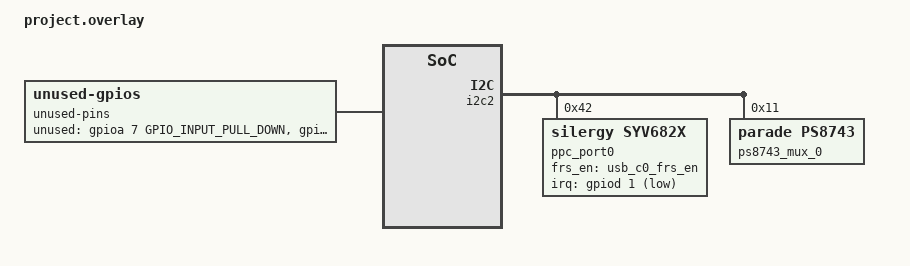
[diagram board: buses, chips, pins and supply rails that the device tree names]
/* Copyright 2023 The ChromiumOS Authors
 * Use of this source code is governed by a BSD-style license that can be
 * found in the LICENSE file.
 */

 /* Ciri DTS includes */

#include "../adc.dtsi"
#include "../geralt_common.dtsi"
#include "../gpio.dtsi"
#include "../i2c.dtsi"
#include "../interrupts.dtsi"
#include "../keyboard.dtsi"
#include "../mkbp.dtsi"
#include "../motionsense.dtsi"
#include "../power_signal.dtsi"
#include "../uart.dtsi"
#include "../usbc.dtsi"
#include "../shi.dtsi"
#include "battery.dtsi"
#include "led.dtsi"

/* ciri board override */

/ {
	named-gpios {
		/delete-node/ als-rgb-int-odl;
		/delete-node/ usb-c0-ppc-bc12-int-odl;

		usb_c0_frs_en: usb-c0-frs-en {
			gpios = <&gpioa 3 GPIO_OUTPUT_LOW>;
		};
		ec_ap_hid_int_odl: ec-ap-hid-int-odl {
			gpios = <&gpioa 6 (GPIO_ODR_HIGH | GPIO_VOLTAGE_1P8 |
					   GPIO_ACTIVE_LOW)>;
		};
		usb_c0_ppc_int_odl: usb-c0-ppc-int-odl {
			gpios = <&gpiod 1 (GPIO_INPUT | GPIO_ACTIVE_LOW)>;
		};
		dp_path_sel: dp-path-sel {
			gpios = <&gpiog 0 (GPIO_OUTPUT_LOW | GPIO_ACTIVE_LOW)>;
		};
	};

	unused-pins {
		compatible = "unused-gpios";

		unused-gpios =
			/* unnamed nc pins */
			<&gpioa 7 GPIO_INPUT_PULL_DOWN>,
			/* pg_pp5000_z1_od */
			<&gpiod 2 GPIO_INPUT>,
			/* CHARGE_EN DNS */
			<&gpioe 1 GPIO_INPUT_PULL_DOWN>,
			/* als_rgb_int_odl not used */
			<&gpiof 1 GPIO_INPUT_PULL_DOWN>,
			/* spi_clk_gpg6 */
			<&gpiog 6 GPIO_INPUT_PULL_UP>,
			/* spi_mosi_gpg4 */
			<&gpiog 4 GPIO_OUTPUT_LOW>,
			/* spi_miso_gpg5 */
			<&gpiog 5 GPIO_OUTPUT_LOW>,
			/* spi_cs_gpg7 */
			<&gpiog 7 GPIO_OUTPUT_LOW>,
			/* Input w/o I-PULL for unused GPIO w/ Ex-PU
			 * EC_AP_RSVD0_ODL
			 */
			<&gpioh 0 GPIO_INPUT>,
			<&gpiom 2 (GPIO_INPUT_PULL_DOWN | GPIO_VOLTAGE_1P8)>,
			<&gpiom 6 (GPIO_INPUT_PULL_DOWN | GPIO_VOLTAGE_1P8)>;
	};

	named-adc-channels {
		adc-temp-sensor-pp5000-z1 {
			enum-name = "ADC_TEMP_SENSOR_PP5000_Z1";
			io-channels = <&adc0 3>;
		};
	};

	gpio-interrupts {
		compatible = "cros-ec,gpio-interrupts";

		int_lid_imu: lid-imu {
			handler = "lsm6dsm_interrupt";
		};
	};

	usbc {
		port0@0 {
			usb-mux-chain-0 {
				usb-muxes = <&ps8743_mux_0 &virtual_mux_0>;
			};
		};
	};

	aliases {
		/*
		 * motion sense's <>_INT_EVENT is handled
		 * by alias. Using the alias, each driver creates
		 * its own <>_INT_EVENT.
		 */
		lsm6dsm-int = &lid_accel;
	};

	/* Rotation matrix used by drivers. */
	motionsense-rotation-ref {
		compatible = "cros-ec,motionsense-rotation-ref";
		lid_rot_ref: lid-rotation-ref {
			mat33 = <0 1 0
				 (-1) 0 0
				 0 0 1>;
		};
	};

	/*
	 * Driver specific data. A driver-specific data can be shared with
	 * different motion sensors while they are using the same driver.
	 *
	 * If a node's compatible starts with "cros-ec,accelgyro-", it is for
	 * a common structure defined in accelgyro.h.
	 * e.g) compatible = "cros-ec,accelgyro-als-drv-data" is for
	 * "struct als_drv_data_t" in accelgyro.h
	 */
	motionsense-sensor-data {
		/delete-node/ bmi323-drv-data;

		lsm6dsm_data_accel: lsm6dsm-accel-drv-data {
			compatible = "cros-ec,drvdata-lsm6dsm";
			status = "okay";
		};
		lsm6dsm_data_gyro: lsm6dsm-gyro-drv-data {
			compatible = "cros-ec,drvdata-lsm6dsm";
			status = "okay";
		};
	};

	/*
	 * List of motion sensors that creates motion_sensors array.
	 * The nodelabel "lid_accel" and "base_accel" are used to indicate
	 * motion sensor IDs for lid angle calculation.
	 */
	motionsense-sensor {
		lid_accel: lid-accel {
			compatible = "cros-ec,lsm6dsm-accel";
			status = "okay";

			active-mask = "SENSOR_ACTIVE_S0_S3";
			location = "MOTIONSENSE_LOC_LID";
			mutex = <&lid_mutex>;
			port = <&i2c_sensor>;
			rot-standard-ref = <&lid_rot_ref>;
			drv-data = <&lsm6dsm_data_accel>;
			configs {
				compatible =
					"cros-ec,motionsense-sensor-config";
				ec-s0 {
					odr = <(12500 | ROUND_UP_FLAG)>;
					ec-rate = <(100 * USEC_PER_MSEC)>;
				};
				ec-s3 {
					odr = <(12500 | ROUND_UP_FLAG)>;
					ec-rate = <0>;
				};
			};
		};

		lid_gyro: lid-gyro {
			compatible = "cros-ec,lsm6dsm-gyro";
			status = "okay";

			active-mask = "SENSOR_ACTIVE_S0_S3";
			location = "MOTIONSENSE_LOC_LID";
			mutex = <&lid_mutex>;
			port = <&i2c_sensor>;
			rot-standard-ref = <&lid_rot_ref>;
			default-range = <(1000 | ROUND_UP_FLAG)>; /* dps */
			drv-data = <&lsm6dsm_data_gyro>;
		};
	};
};

&i2c2 {
	/delete-node/ rt1739@70;
	/delete-node/ tusb546-mux-0@44;

	ppc_port0: syv682x@42 {
		compatible = "silergy,syv682x";
		status = "okay";
		reg = <0x42>;
		frs_en_gpio = <&usb_c0_frs_en>;
		/* a duplicate of the <&usb_c0_ppc_int_odl> node in
		 * "named-gpios". This is the Zephyr preferred style,
		 * the "named-gpios" node will be dealt with at a later date.
		 */
		irq-gpios = <&gpiod 1 GPIO_ACTIVE_LOW>;
	};

	ps8743_mux_0: ps8743-mux-0@11 {
		compatible = "parade,ps8743";
		reg = <0x11>;
	};
};

&i2c4 {
	hid_i2c_target: hid-i2c-target@56 {
		/* Zephyr preferred style for specifying ec_ap_hid_int_odl */
		irq-gpios = <&gpioa 6 (GPIO_OPEN_DRAIN | GPIO_VOLTAGE_1P8 |
			     GPIO_ACTIVE_LOW)>;
	};
};
